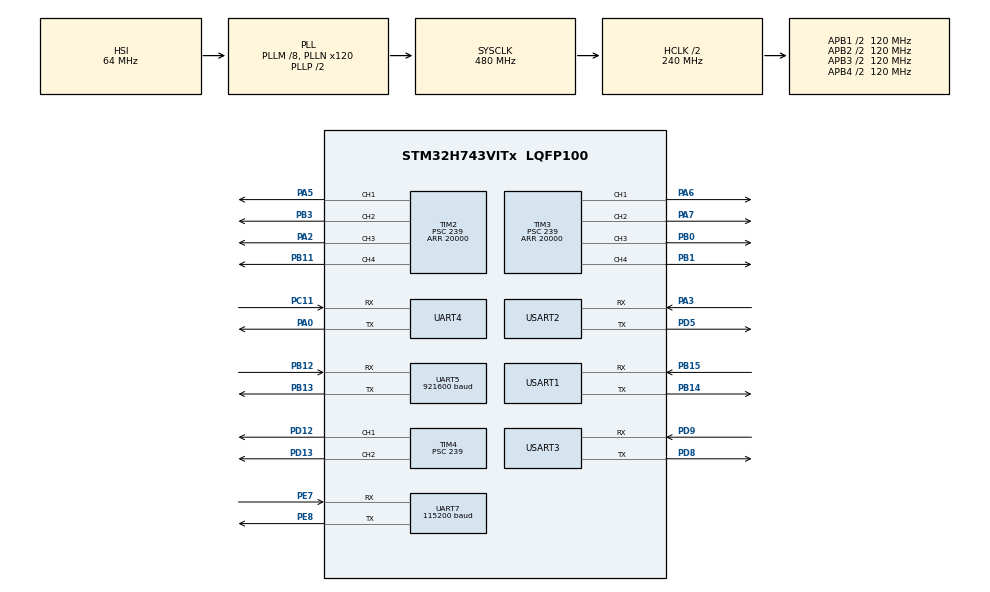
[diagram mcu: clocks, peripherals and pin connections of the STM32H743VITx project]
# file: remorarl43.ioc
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CORTEX_M7.AccessPermission_Spec=MPU_REGION_FULL_ACCESS
CORTEX_M7.BaseAddress_Spec=0x0
CORTEX_M7.CPU_DCache=Enabled
CORTEX_M7.CPU_ICache=Enabled
CORTEX_M7.DisableExec_Spec=MPU_INSTRUCTION_ACCESS_ENABLE
CORTEX_M7.Enable_S-Cortex_Memory_Protection_Unit_Region1_Settings_S=__NULL
CORTEX_M7.IsCacheable_Spec=MPU_ACCESS_NOT_CACHEABLE
CORTEX_M7.IsShareable_Spec=MPU_ACCESS_NOT_SHAREABLE
CORTEX_M7.MPU_Control=MPU_HFNMI_PRIVDEF
CORTEX_M7.Size_Spec=MPU_REGION_SIZE_4GB
CORTEX_M7.default_mode_Activation=1
FREERTOS.BinarySemaphores01=MainProcessSem,Static,myBinarySem01ControlBlock
FREERTOS.Events01=LidarDataReady,Dynamic,NULL
FREERTOS.HEAP_NUMBER=4
FREERTOS.Tasks01=defaultTask,24,128,StartDefaultTask,Default,NULL,Dynamic,NULL,NULL;MainProcessTask,26,2048,StartTask02,Default,NULL,Dynamic,NULL,NULL;LidarProcessTas,25,10000,StartTask03,Default,NULL,Dynamic,NULL,NULL;LidarInquiryTas,27,2048,LidarInquiryTaskEntry,Default,NULL,Dynamic,NULL,NULL
FREERTOS.Timers01=MainProcessTimer,Callback01,osTimerPeriodic,Default,NULL,Dynamic,NULL
FREERTOS.configCHECK_FOR_STACK_OVERFLOW=2
FREERTOS.configENABLE_FPU=1
FREERTOS.configTOTAL_HEAP_SIZE=256000
FREERTOS.configUSE_DAEMON_TASK_STARTUP_HOOK=1
FREERTOS.configUSE_MALLOC_FAILED_HOOK=1
FREERTOS.configUSE_NEWLIB_REENTRANT=1
Mcu.Family=STM32H7
Mcu.Name=STM32H743VITx
Mcu.Package=LQFP100
NVIC.PriorityGroup=NVIC_PRIORITYGROUP_4
NVIC.TIM16_IRQn=true\:5\:0\:false\:false\:true\:true\:true\:true\:true
NVIC.TIM17_IRQn=true\:15\:0\:true\:false\:true\:false\:false\:true\:true
NVIC.TIM5_IRQn=true\:5\:0\:false\:false\:true\:true\:true\:true\:true
NVIC.TimeBase=TIM17_IRQn
NVIC.TimeBaseIP=TIM17
NVIC.UART7_IRQn=true\:5\:0\:true\:false\:true\:true\:true\:true\:true
NVIC.USART3_IRQn=true\:5\:0\:false\:false\:true\:true\:true\:true\:true
PA0.Mode=Asynchronous
PA0.Signal=UART4_TX
PA13\ (JTMS/SWDIO).Mode=Serial_Wire
PA13\ (JTMS/SWDIO).Signal=DEBUG_JTMS-SWDIO
PA14\ (JTCK/SWCLK).Mode=Serial_Wire
PA14\ (JTCK/SWCLK).Signal=DEBUG_JTCK-SWCLK
PA2.Signal=S_TIM2_CH3
PA3.Mode=Asynchronous
PA3.Signal=USART2_RX
PA5.Signal=S_TIM2_CH1_ETR
PA6.Signal=S_TIM3_CH1
PA7.Signal=S_TIM3_CH2
PB0.Signal=S_TIM3_CH3
PB1.Signal=S_TIM3_CH4
PB11.Signal=S_TIM2_CH4
PB12.Mode=Asynchronous
PB12.Signal=UART5_RX
PB13.Mode=Asynchronous
PB13.Signal=UART5_TX
PB14.Mode=Asynchronous
PB14.Signal=USART1_TX
PB15.Mode=Asynchronous
PB15.Signal=USART1_RX
PB3\ (JTDO/TRACESWO).Signal=S_TIM2_CH2
PC11.Mode=Asynchronous
PC11.Signal=UART4_RX
PD12.Signal=S_TIM4_CH1
PD13.Signal=S_TIM4_CH2
PD5.Mode=Asynchronous
PD5.Signal=USART2_TX
PD8.Mode=Asynchronous
PD8.Signal=USART3_TX
PD9.Mode=Asynchronous
PD9.Signal=USART3_RX
PE7.GPIO_Speed=GPIO_SPEED_FREQ_HIGH
PE7.Mode=Asynchronous
PE7.Signal=UART7_RX
PE8.GPIO_Speed=GPIO_SPEED_FREQ_HIGH
PE8.Mode=Asynchronous
PE8.Signal=UART7_TX
PH0-OSC_IN\ (PH0).Mode=HSE-External-Clock-Source
PH0-OSC_IN\ (PH0).Signal=RCC_OSC_IN
ProjectManager.HeapSize=0x10000
ProjectManager.StackSize=0x10000
ProjectManager.TargetToolchain=STM32CubeIDE
RCC.ADCFreq_Value=129000000
RCC.APB1Freq_Value=120000000
RCC.APB2Freq_Value=120000000
RCC.APB3Freq_Value=120000000
RCC.APB4Freq_Value=120000000
RCC.CortexFreq_Value=480000000
RCC.D1PPRE=RCC_APB3_DIV2
RCC.D2PPRE1=RCC_APB1_DIV2
RCC.D2PPRE2=RCC_APB2_DIV2
RCC.D3PPRE=RCC_APB4_DIV2
RCC.DIVM1=8
RCC.DIVN1=120
RCC.HCLKFreq_Value=240000000
RCC.HPRE=RCC_HCLK_DIV2
RCC.HSE_VALUE=8000000
RCC.PLL2FRACN=0
RCC.PLL2_VCI_Range-AdvancedSettings=RCC_PLL2VCIRANGE_0
RCC.PLL3FRACN=0
RCC.PLLFRACN=0
RCC.SYSCLKFreq_VALUE=480000000
RCC.SYSCLKSource=RCC_SYSCLKSOURCE_PLLCLK
RCC.USBFreq_Value=480000000
SH.S_TIM2_CH1_ETR.0=TIM2_CH1,PWM Generation1 CH1
SH.S_TIM2_CH2.0=TIM2_CH2,PWM Generation2 CH2
SH.S_TIM2_CH3.0=TIM2_CH3,PWM Generation3 CH3
SH.S_TIM2_CH4.0=TIM2_CH4,PWM Generation4 CH4
SH.S_TIM3_CH1.0=TIM3_CH1,PWM Generation1 CH1
SH.S_TIM3_CH2.0=TIM3_CH2,PWM Generation2 CH2
SH.S_TIM3_CH3.0=TIM3_CH3,PWM Generation3 CH3
SH.S_TIM3_CH4.0=TIM3_CH4,PWM Generation4 CH4
SH.S_TIM4_CH1.0=TIM4_CH1,PWM Generation1 CH1
SH.S_TIM4_CH2.0=TIM4_CH2,PWM Generation2 CH2
STMicroelectronics.X-CUBE-AI.9.0.0.ActivationBufferSizeList=2048
STMicroelectronics.X-CUBE-AI.9.0.0.ActivationBuffers=pool0
STMicroelectronics.X-CUBE-AI.9.0.0.ActivationNames=pool0
STMicroelectronics.X-CUBE-AI.9.0.0.ActivationSizes=AI_REMORA_NN_2T1_DATA_ACTIVATION_1_SIZE
STMicroelectronics.X-CUBE-AI.9.0.0.HeapSize=0x10000
STMicroelectronics.X-CUBE-AI.9.0.0.InternalRamActivationBufferMaxSize=AI_REMORA_NN_2T1_DATA_ACTIVATIONS_SIZE
STMicroelectronics.X-CUBE-AI.9.0.0.LatestDirectoryUsed-2b77467bdd1eef014e2fff417ad448c027da377877b0248ece2b60dee779bfa9=D\:\\Projects\\Product\\RemoraRL\\program\\remora_tf\\remora_rl
STMicroelectronics.X-CUBE-AI.9.0.0.MaximumNumberOfInputLayer=1
STMicroelectronics.X-CUBE-AI.9.0.0.MaximumNumberOfOutputLayer=1
STMicroelectronics.X-CUBE-AI.9.0.0.MaximumSizeOfInputLayer=1
STMicroelectronics.X-CUBE-AI.9.0.0.MaximumSizeOfOutputLayer=1
STMicroelectronics.X-CUBE-AI.9.0.0.ModelActualCompression-2b77467bdd1eef014e2fff417ad448c027da377877b0248ece2b60dee779bfa9=0.0
STMicroelectronics.X-CUBE-AI.9.0.0.ModelCompression-2b77467bdd1eef014e2fff417ad448c027da377877b0248ece2b60dee779bfa9=None
STMicroelectronics.X-CUBE-AI.9.0.0.ModelFlashOccupation-2b77467bdd1eef014e2fff417ad448c027da377877b0248ece2b60dee779bfa9=267268
STMicroelectronics.X-CUBE-AI.9.0.0.ModelHashList=2b77467bdd1eef014e2fff417ad448c027da377877b0248ece2b60dee779bfa9
STMicroelectronics.X-CUBE-AI.9.0.0.ModelKind-2b77467bdd1eef014e2fff417ad448c027da377877b0248ece2b60dee779bfa9=TFLITE
STMicroelectronics.X-CUBE-AI.9.0.0.ModelMacc-2b77467bdd1eef014e2fff417ad448c027da377877b0248ece2b60dee779bfa9=67329
STMicroelectronics.X-CUBE-AI.9.0.0.ModelName-2b77467bdd1eef014e2fff417ad448c027da377877b0248ece2b60dee779bfa9=remora_nn_2t1
STMicroelectronics.X-CUBE-AI.9.0.0.ModelNameList=remora_nn_2t1
STMicroelectronics.X-CUBE-AI.9.0.0.ModelRamOccupation-2b77467bdd1eef014e2fff417ad448c027da377877b0248ece2b60dee779bfa9=2048
STMicroelectronics.X-CUBE-AI.9.0.0.ModelStructureFile-2b77467bdd1eef014e2fff417ad448c027da377877b0248ece2b60dee779bfa9=D\:\\Projects\\Product\\RemoraRL\\program\\remora_tf\\remora_rl\\converted_model.tflite
STMicroelectronics.X-CUBE-AI.9.0.0.ModelType-2b77467bdd1eef014e2fff417ad448c027da377877b0248ece2b60dee779bfa9=STM32Cube.AI MCU runtime
STMicroelectronics.X-CUBE-AI.9.0.0.ReadyForCodeGeneration=true
STMicroelectronics.X-CUBE-AI.9.0.0.StackSize=0x10000
STMicroelectronics.X-CUBE-AI.9.0.0.WorkingBufferStartAddrList=0xFFFFFFFF
STMicroelectronics.X-CUBE-AI.9.0.0.XAaCUBEAaAICcArtificialOoIntelligenceJjCore=true
STMicroelectronics.X-CUBE-AI.9.0.0.copyWeightToRam=false
STMicroelectronics.X-CUBE-AI.9.0.0.copyWeightToRam-2b77467bdd1eef014e2fff417ad448c027da377877b0248ece2b60dee779bfa9=false
STMicroelectronics.X-CUBE-AI.9.0.0.customLayerConfigEnabled=false
STMicroelectronics.X-CUBE-AI.9.0.0.customLayerConfigEnabled-2b77467bdd1eef014e2fff417ad448c027da377877b0248ece2b60dee779bfa9=false
STMicroelectronics.X-CUBE-AI.9.0.0.noOnnxIoTranspose=false
STMicroelectronics.X-CUBE-AI.9.0.0.noOnnxIoTranspose-2b77467bdd1eef014e2fff417ad448c027da377877b0248ece2b60dee779bfa9=false
STMicroelectronics.X-CUBE-AI.9.0.0.optimization=time
STMicroelectronics.X-CUBE-AI.9.0.0.useInputAllocation=true
STMicroelectronics.X-CUBE-AI.9.0.0.useInputAllocation-2b77467bdd1eef014e2fff417ad448c027da377877b0248ece2b60dee779bfa9=true
STMicroelectronics.X-CUBE-AI.9.0.0.useOutputAllocation=true
STMicroelectronics.X-CUBE-AI.9.0.0.useOutputAllocation-2b77467bdd1eef014e2fff417ad448c027da377877b0248ece2b60dee779bfa9=true
TIM16.Period=99
TIM16.Prescaler=2399
TIM2.Channel-PWM\ Generation1\ CH1=TIM_CHANNEL_1
TIM2.Channel-PWM\ Generation2\ CH2=TIM_CHANNEL_2
TIM2.Channel-PWM\ Generation3\ CH3=TIM_CHANNEL_3
TIM2.Channel-PWM\ Generation4\ CH4=TIM_CHANNEL_4
TIM2.Period=20000
TIM2.Prescaler=239
TIM3.Channel-PWM\ Generation1\ CH1=TIM_CHANNEL_1
TIM3.Channel-PWM\ Generation2\ CH2=TIM_CHANNEL_2
TIM3.Channel-PWM\ Generation3\ CH3=TIM_CHANNEL_3
TIM3.Channel-PWM\ Generation4\ CH4=TIM_CHANNEL_4
TIM3.Period=20000
TIM3.Prescaler=239
TIM4.Channel-PWM\ Generation1\ CH1=TIM_CHANNEL_1
TIM4.Channel-PWM\ Generation2\ CH2=TIM_CHANNEL_2
TIM4.Period=20000
TIM4.Prescaler=239
TIM5.Period=4000000000
TIM5.Prescaler=239
UART4.OverrunDisableParam=UART_ADVFEATURE_OVERRUN_DISABLE
UART5.BaudRate=921600
UART5.OverrunDisableParam=UART_ADVFEATURE_OVERRUN_DISABLE
UART7.BaudRate=115200
UART7.OverrunDisableParam=UART_ADVFEATURE_OVERRUN_DISABLE
UART7.SwapParam=UART_ADVFEATURE_SWAP_DISABLE
USART1.OverrunDisableParam=ADVFEATURE_OVERRUN_DISABLE
USART1.VirtualMode-Asynchronous=VM_ASYNC
USART2.OverrunDisableParam=ADVFEATURE_OVERRUN_DISABLE
USART2.VirtualMode-Asynchronous=VM_ASYNC
USART3.OverrunDisableParam=ADVFEATURE_OVERRUN_DISABLE
USART3.VirtualMode-Asynchronous=VM_ASYNC
VP_FREERTOS_VS_CMSIS_V2.Mode=CMSIS_V2
VP_STMicroelectronics.X-CUBE-AI_VS_ArtificialOoIntelligenceJjXAaCUBEAaAI_9.0.0.Mode=ArtificialOoIntelligenceJjXAaCUBEAaAI
VP_SYS_VS_tim17.Mode=TIM17
VP_TIM16_VS_ClockSourceINT.Mode=Enable_Timer
VP_TIM2_VS_ClockSourceINT.Mode=Internal
VP_TIM4_VS_ClockSourceINT.Mode=Internal
VP_TIM5_VS_ClockSourceINT.Mode=Internal
board=custom

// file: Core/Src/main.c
/* USER CODE BEGIN Header */
/**
  ******************************************************************************
  * @file           : main.c
  * @brief          : Main program body
  ******************************************************************************
  * @attention
  *
  * Copyright (c) 2024 STMicroelectronics.
  * All rights reserved.
  *
  * This software is licensed under terms that can be found in the LICENSE file
  * in the root directory of this software component.
  * If no LICENSE file comes with this software, it is provided AS-IS.
  *
  ******************************************************************************
  */
/* USER CODE END Header */
#include "main.h"
#include "cmsis_os.h"
#include "tim.h"
#include "usart.h"
#include "gpio.h"

/* USER CODE BEGIN Includes */
#include "fish_controller.h"
#include "log.h"
#include "IMU.h"
#include "sorg_utils.h"
/* USER CODE END Includes */

void SystemClock_Config(void);
static void MPU_Config(void);
void MX_FREERTOS_Init(void);

int main(void)
{

  /* MPU Configuration--------------------------------------------------------*/
  MPU_Config();

  /* Enable the CPU Cache */

  /* Enable I-Cache---------------------------------------------------------*/
  SCB_EnableICache();

  /* Enable D-Cache---------------------------------------------------------*/
  SCB_EnableDCache();

  /* MCU Configuration--------------------------------------------------------*/

  /* Reset of all peripherals, Initializes the Flash interface and the Systick. */
  HAL_Init();

  /* Configure the system clock */
  SystemClock_Config();

  /* Initialize all configured peripherals */
  MX_GPIO_Init();
  MX_TIM3_Init();
  MX_TIM4_Init();
  MX_TIM16_Init();
  MX_UART4_Init();
  MX_UART5_Init();
  MX_UART7_Init();
  MX_USART1_UART_Init();
  MX_USART2_UART_Init();
  MX_USART3_UART_Init();
  MX_TIM2_Init();
  MX_TIM5_Init();
  /* USER CODE BEGIN 2 */
    orange_log_init();
    tick_us_init();
    Fish_Init();
  /* USER CODE END 2 */

  /* Init scheduler */
  osKernelInitialize();

  /* Call init function for freertos objects (in cmsis_os2.c) */
  MX_FREERTOS_Init();

  /* Start scheduler */
  osKernelStart();

  /* We should never get here as control is now taken by the scheduler */

  /* Infinite loop */
  while (1)
  {

  }
}

void SystemClock_Config(void)
{
  RCC_OscInitTypeDef RCC_OscInitStruct = {0};
  RCC_ClkInitTypeDef RCC_ClkInitStruct = {0};

  /** Supply configuration update enable
  */
  HAL_PWREx_ConfigSupply(PWR_LDO_SUPPLY);

  /** Configure the main internal regulator output voltage
  */
  __HAL_PWR_VOLTAGESCALING_CONFIG(PWR_REGULATOR_VOLTAGE_SCALE1);

  while(!__HAL_PWR_GET_FLAG(PWR_FLAG_VOSRDY)) {}

  __HAL_RCC_SYSCFG_CLK_ENABLE();
  __HAL_PWR_VOLTAGESCALING_CONFIG(PWR_REGULATOR_VOLTAGE_SCALE0);

  while(!__HAL_PWR_GET_FLAG(PWR_FLAG_VOSRDY)) {}

  /** Initializes the RCC Oscillators according to the specified parameters
  * in the RCC_OscInitTypeDef structure.
  */
  RCC_OscInitStruct.OscillatorType = RCC_OSCILLATORTYPE_HSI;
  RCC_OscInitStruct.HSIState = RCC_HSI_DIV1;
  RCC_OscInitStruct.HSICalibrationValue = RCC_HSICALIBRATION_DEFAULT;
  RCC_OscInitStruct.PLL.PLLState = RCC_PLL_ON;
  RCC_OscInitStruct.PLL.PLLSource = RCC_PLLSOURCE_HSI;
  RCC_OscInitStruct.PLL.PLLM = 8;
  RCC_OscInitStruct.PLL.PLLN = 120;
  RCC_OscInitStruct.PLL.PLLP = 2;
  RCC_OscInitStruct.PLL.PLLQ = 2;
  RCC_OscInitStruct.PLL.PLLR = 2;
  RCC_OscInitStruct.PLL.PLLRGE = RCC_PLL1VCIRANGE_3;
  RCC_OscInitStruct.PLL.PLLVCOSEL = RCC_PLL1VCOWIDE;
  RCC_OscInitStruct.PLL.PLLFRACN = 0;
  if (HAL_RCC_OscConfig(&RCC_OscInitStruct) != HAL_OK)
  {
    Error_Handler();
  }

  /** Initializes the CPU, AHB and APB buses clocks
  */
  RCC_ClkInitStruct.ClockType = RCC_CLOCKTYPE_HCLK|RCC_CLOCKTYPE_SYSCLK
                              |RCC_CLOCKTYPE_PCLK1|RCC_CLOCKTYPE_PCLK2
                              |RCC_CLOCKTYPE_D3PCLK1|RCC_CLOCKTYPE_D1PCLK1;
  RCC_ClkInitStruct.SYSCLKSource = RCC_SYSCLKSOURCE_PLLCLK;
  RCC_ClkInitStruct.SYSCLKDivider = RCC_SYSCLK_DIV1;
  RCC_ClkInitStruct.AHBCLKDivider = RCC_HCLK_DIV2;
  RCC_ClkInitStruct.APB3CLKDivider = RCC_APB3_DIV2;
  RCC_ClkInitStruct.APB1CLKDivider = RCC_APB1_DIV2;
  RCC_ClkInitStruct.APB2CLKDivider = RCC_APB2_DIV2;
  RCC_ClkInitStruct.APB4CLKDivider = RCC_APB4_DIV2;

  if (HAL_RCC_ClockConfig(&RCC_ClkInitStruct, FLASH_LATENCY_4) != HAL_OK)
  {
    Error_Handler();
  }
}

 /* MPU Configuration */

void MPU_Config(void)
{
  MPU_Region_InitTypeDef MPU_InitStruct = {0};

  /* Disables the MPU */
  HAL_MPU_Disable();

  /** Initializes and configures the Region and the memory to be protected
  */
  MPU_InitStruct.Enable = MPU_REGION_ENABLE;
  MPU_InitStruct.Number = MPU_REGION_NUMBER0;
  MPU_InitStruct.BaseAddress = 0x0;
  MPU_InitStruct.Size = MPU_REGION_SIZE_4GB;
  MPU_InitStruct.SubRegionDisable = 0x87;
  MPU_InitStruct.TypeExtField = MPU_TEX_LEVEL0;
  MPU_InitStruct.AccessPermission = MPU_REGION_FULL_ACCESS;
  MPU_InitStruct.DisableExec = MPU_INSTRUCTION_ACCESS_ENABLE;
  MPU_InitStruct.IsShareable = MPU_ACCESS_NOT_SHAREABLE;
  MPU_InitStruct.IsCacheable = MPU_ACCESS_NOT_CACHEABLE;
  MPU_InitStruct.IsBufferable = MPU_ACCESS_NOT_BUFFERABLE;

  HAL_MPU_ConfigRegion(&MPU_InitStruct);
  /* Enables the MPU */
  HAL_MPU_Enable(MPU_HFNMI_PRIVDEF);

}

void HAL_TIM_PeriodElapsedCallback(TIM_HandleTypeDef *htim)
{
  if (htim->Instance == TIM17) {
    HAL_IncTick();
  }
}

void Error_Handler(void)
{
  __disable_irq();
  while (1)
  {
  }
}

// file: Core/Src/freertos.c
/* USER CODE BEGIN Header */
/**
  ******************************************************************************
  * File Name          : freertos.c
  * Description        : Code for freertos applications
  ******************************************************************************
  * @attention
  *
  * Copyright (c) 2024 STMicroelectronics.
  * All rights reserved.
  *
  * This software is licensed under terms that can be found in the LICENSE file
  * in the root directory of this software component.
  * If no LICENSE file comes with this software, it is provided AS-IS.
  *
  ******************************************************************************
  */
/* USER CODE END Header */

#include "FreeRTOS.h"
#include "task.h"
#include "main.h"
#include "cmsis_os.h"

/* USER CODE BEGIN Includes */
#include "motion_planner.h"
#include "fish_controller.h"
#include "p8864_sensor.h"
#include "p8864_plane_solver.h"
#include "network_app.h"
#include "log.h"
#include "atk_ms53l1m.h"
/* USER CODE END Includes */

/* USER CODE BEGIN PD */
extern double channel_value[10];
/* USER CODE END PD */

/* USER CODE BEGIN Variables */
p8864_data_t pdata_buffer;
/* USER CODE END Variables */
/* Definitions for defaultTask */
osThreadId_t defaultTaskHandle;
const osThreadAttr_t defaultTask_attributes = {
  .name = "defaultTask",
  .stack_size = 128 * 4,
  .priority = (osPriority_t) osPriorityNormal,
};
/* Definitions for MainProcessTask */
osThreadId_t MainProcessTaskHandle;
const osThreadAttr_t MainProcessTask_attributes = {
  .name = "MainProcessTask",
  .stack_size = 2048 * 4,
  .priority = (osPriority_t) osPriorityNormal2,
};
/* Definitions for LidarProcessTas */
osThreadId_t LidarProcessTasHandle;
const osThreadAttr_t LidarProcessTas_attributes = {
  .name = "LidarProcessTas",
  .stack_size = 10000 * 4,
  .priority = (osPriority_t) osPriorityNormal1,
};
/* Definitions for LidarInquiryTas */
osThreadId_t LidarInquiryTasHandle;
const osThreadAttr_t LidarInquiryTas_attributes = {
  .name = "LidarInquiryTas",
  .stack_size = 2048 * 4,
  .priority = (osPriority_t) osPriorityNormal3,
};
/* Definitions for MainProcessTimer */
osTimerId_t MainProcessTimerHandle;
const osTimerAttr_t MainProcessTimer_attributes = {
  .name = "MainProcessTimer"
};
/* Definitions for MainProcessSem */
osSemaphoreId_t MainProcessSemHandle;
const osSemaphoreAttr_t MainProcessSem_attributes = {
  .name = "MainProcessSem"
};
/* Definitions for LidarDataReady */
osEventFlagsId_t LidarDataReadyHandle;
const osEventFlagsAttr_t LidarDataReady_attributes = {
  .name = "LidarDataReady"
};

void StartDefaultTask(void *argument);
void StartTask02(void *argument);
void StartTask03(void *argument);
void LidarInquiryTaskEntry(void *argument);
void Callback01(void *argument);

void MX_FREERTOS_Init(void); /* (MISRA C 2004 rule 8.1) */

/* Hook prototypes */
void vApplicationStackOverflowHook(xTaskHandle xTask, signed char *pcTaskName);
void vApplicationMallocFailedHook(void);
void vApplicationDaemonTaskStartupHook(void);

/* USER CODE BEGIN 4 */
void vApplicationStackOverflowHook(xTaskHandle xTask, signed char *pcTaskName)
{
   /* Run time stack overflow checking is performed if
   configCHECK_FOR_STACK_OVERFLOW is defined to 1 or 2. This hook function is
   called if a stack overflow is detected. */
   Error_Handler();
}
/* USER CODE END 4 */

/* USER CODE BEGIN 5 */
void vApplicationMallocFailedHook(void)
{
   /* vApplicationMallocFailedHook() will only be called if
   configUSE_MALLOC_FAILED_HOOK is set to 1 in FreeRTOSConfig.h. It is a hook
   function that will get called if a call to pvPortMalloc() fails.
   pvPortMalloc() is called internally by the kernel whenever a task, queue,
   timer or semaphore is created. It is also called by various parts of the
   demo application. If heap_1.c or heap_2.c are used, then the size of the
   heap available to pvPortMalloc() is defined by configTOTAL_HEAP_SIZE in
   FreeRTOSConfig.h, and the xPortGetFreeHeapSize() API function can be used
   to query the size of free heap space that remains (although it does not
   provide information on how the remaining heap might be fragmented). */
    Error_Handler();
}
/* USER CODE END 5 */

/* USER CODE BEGIN DAEMON_TASK_STARTUP_HOOK */
void vApplicationDaemonTaskStartupHook(void)
{
}
/* USER CODE END DAEMON_TASK_STARTUP_HOOK */

void MX_FREERTOS_Init(void) {

  /* Create the semaphores(s) */
  /* creation of MainProcessSem */
  MainProcessSemHandle = osSemaphoreNew(1, 0, &MainProcessSem_attributes);

  /* Create the timer(s) */
  /* creation of MainProcessTimer */
  MainProcessTimerHandle = osTimerNew(Callback01, osTimerPeriodic, NULL, &MainProcessTimer_attributes);

  /* Create the thread(s) */
  /* creation of defaultTask */
  defaultTaskHandle = osThreadNew(StartDefaultTask, NULL, &defaultTask_attributes);

  /* creation of MainProcessTask */
  MainProcessTaskHandle = osThreadNew(StartTask02, NULL, &MainProcessTask_attributes);

  /* creation of LidarProcessTas */
  LidarProcessTasHandle = osThreadNew(StartTask03, NULL, &LidarProcessTas_attributes);

  /* creation of LidarInquiryTas */
  LidarInquiryTasHandle = osThreadNew(LidarInquiryTaskEntry, NULL, &LidarInquiryTas_attributes);

  /* Create the event(s) */
  /* creation of LidarDataReady */
  LidarDataReadyHandle = osEventFlagsNew(&LidarDataReady_attributes);

}

void StartDefaultTask(void *argument)
{
  /* USER CODE BEGIN StartDefaultTask */
  /* Infinite loop */
  for(;;)
  {
    osDelay(10);
  }
  /* USER CODE END StartDefaultTask */
}

void StartTask02(void *argument)
{
  /* USER CODE BEGIN StartTask02 */
  /* Infinite loop */
  for(;;)
  {
      uint32_t task_start_tick = osKernelGetTickCount();
      Fish_CPGUpdate();
      Fish_CPGToMotor();
      Motion_Update(&remora);
      osDelayUntil(task_start_tick+20);
  }
  /* USER CODE END StartTask02 */
}

void StartTask03(void *argument)
{
  /* USER CODE BEGIN StartTask03 */
  uint16_t distance1, distance2;
  float neck_pitch = 0.0f, included_angle_raw;
  float disc_deg, disc_prev = 0.0f, disc_vel = 0.0f, disc_vel_prev = 0.0f, disc_acc = 0.0f;
  float height_cm, height_prev = 0.0f, height_vel = 0.0f, height_vel_prev = 0.0f, height_acc = 0.0f;
  uint8_t first_sample = 1;
  /* Infinite loop */
  for(;;)
  {
      uint32_t task_start_tick = osKernelGetTickCount();
      osEventFlagsWait(LidarDataReadyHandle, 1, osFlagsWaitAll, 0);
      osEventFlagsClear(LidarDataReadyHandle ,1);
//      memcpy(&pdata_buffer, &pdata, sizeof(p8864_data_t));
//      p8864_read_data();
//      p8864_plane_slove(&pdata_buffer, &pitch, &roll, &distance);
      //如果这里出bug了，报FE错误，MSL1多从机记得关掉错误返回
      if (atk_ms53l1m_modbus_get_data(2, &distance1) == ATK_MS53L1M_EOK &&
          atk_ms53l1m_modbus_get_data(3, &distance2) == ATK_MS53L1M_EOK)
      {
          included_angle_raw = atanf(fabsf((float)distance1+LIDAR_OFFSET-(float)distance2)/
                  LIDAR_RELATE_OFFSET);
          if (distance1+LIDAR_OFFSET<distance2)
              included_angle_raw = -included_angle_raw;

          disc_deg = included_angle_raw*180.0f/(float)PI;
          height_cm = (float)distance1*NN_DIST_SCALE;

          if (first_sample){
              disc_vel = 0.0f; disc_acc = 0.0f;
              height_vel = 0.0f; height_acc = 0.0f;
              first_sample = 0;
          } else {
              disc_vel = (disc_deg - disc_prev)/NN_SAMPLE_DT;
              disc_acc = (disc_vel - disc_vel_prev)/NN_SAMPLE_DT;
              height_vel = (height_cm - height_prev)/NN_SAMPLE_DT;
              height_acc = (height_vel - height_vel_prev)/NN_SAMPLE_DT;
          }
          disc_prev = disc_deg;       disc_vel_prev = disc_vel;
          height_prev = height_cm;    height_vel_prev = height_vel;

          neck_pitch = RemoraNN_6t1_run(disc_deg, (float)distance1,
                                        disc_vel, disc_acc, height_vel, height_acc);

          LOGLN_INFO("ms53l1", "dist1:%d, dist2:%d, angraw:%f, h:%f",
                     distance1, distance2, disc_deg, height_cm);
      }

      if (channel_value[4] == 1){
          remora.bumper_neck_pitch.dynamic=5;//改变运动是脖子的速度
          remora.bumper_neck_pitch.mode = BUMPER_MODE_POS;
          remora.bumper_neck_pitch.set = neck_pitch*NN_NECK_TO_BUMPER;
      }
      LOGLN_INFO("ai", "neck:%f", neck_pitch);
      //shared p/r/d
      osDelayUntil(task_start_tick+200);

  }
  /* USER CODE END StartTask03 */
}

void LidarInquiryTaskEntry(void *argument)
{
  /* USER CODE BEGIN LidarInquiryTaskEntry */
  /* Infinite loop */
  for(;;)
  {
      osDelay(1000);
  }
  /* USER CODE END LidarInquiryTaskEntry */
}

/* Callback01 function */
void Callback01(void *argument)
{
}
